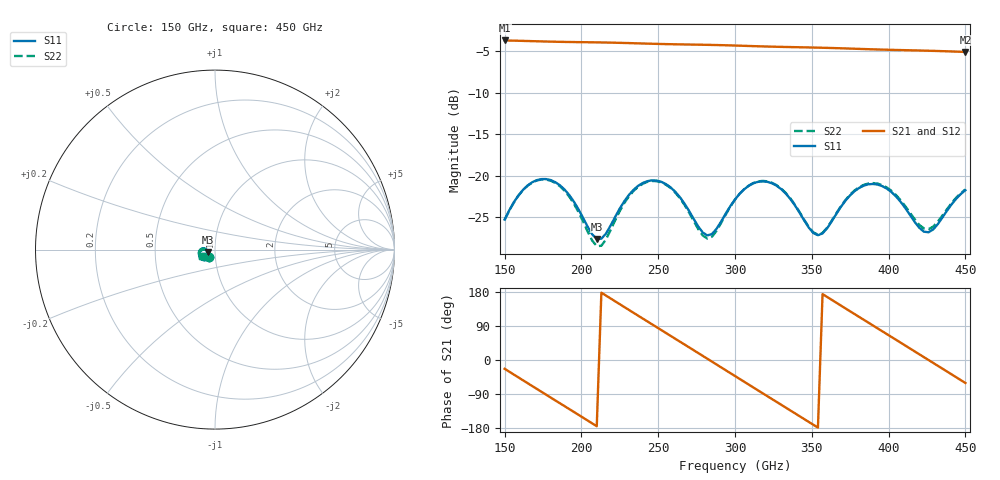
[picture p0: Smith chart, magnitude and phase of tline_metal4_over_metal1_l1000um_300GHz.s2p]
#  GHZ S DB R 50
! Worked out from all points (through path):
!   101 points, 150 GHz to 450 GHz, reference 50 ohm
!   highest |S21| = -3.67 dB at 150 GHz (marker M1); lowest = -5.1 dB at 450 GHz (marker M2)
!   group delay of S21, straight-line fit = 7.01 ps
!   lowest |S11| = -27.7 dB at 210 GHz (marker M3), VSWR 1.09, Z = 46.2 - j1.19 ohm
!   |S11| at or under -10 dB: start of sweep to end of sweep
!   |S22| runs from -28.5 to -20.5 dB; largest |S21 - S12| = 1e-13
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150  -25.32 -127.4  -3.67 -23.2  -3.67 -23.2  -25.37 -127.1
162  -21.73 -133.7  -3.73 -53.6  -3.73 -53.6  -21.75 -133.8
174  -20.43 -151.2  -3.79 -83.9  -3.79 -83.9  -20.48 -151.9
186  -21.18 -169.3  -3.84 -114.1  -3.84 -114.1  -21.29 -170.7
201  -25.09 -179.2  -3.88 -152.0  -3.88 -152.0  -25.52 178.5
210  -27.67 -161.9  -3.91 -174.7  -3.91 -174.7  -28.54 -162.1
222  -24.99 -136.1  -3.95 154.8  -3.95 154.8  -25.39 -132.8
234  -21.72 -142.4  -4.01 124.4  -4.01 124.4  -21.85 -140.0
252  -20.76 -167.2  -4.10 79.0  -4.10 79.0  -20.83 -165.8
276  -26.14 -178.0  -4.18 18.5  -4.18 18.5  -26.45 -177.1
285  -27.07 -155.7  -4.22 -4.3  -4.22 -4.3  -27.40 -153.0
300  -22.89 -143.4  -4.29 -42.3  -4.29 -42.3  -22.91 -140.5
312  -20.94 -155.9  -4.36 -72.6  -4.36 -72.6  -20.90 -153.5
324  -20.93 -172.1  -4.42 -102.8  -4.42 -102.8  -20.87 -170.0
339  -23.60 174.1  -4.48 -140.6  -4.48 -140.6  -23.53 176.0
351  -26.95 -173.9  -4.53 -170.9  -4.53 -170.9  -26.87 -172.2
363  -25.52 -147.8  -4.59 158.7  -4.59 158.7  -25.45 -146.1
378  -21.87 -151.9  -4.68 120.8  -4.68 120.8  -21.78 -150.0
390  -21.02 -166.3  -4.75 90.6  -4.75 90.6  -20.92 -164.4
402  -22.02 179.8  -4.81 60.5  -4.81 60.5  -21.87 -178.0
426  -26.86 -163.9  -4.92 -0.0  -4.92 -0.0  -26.48 -163.0
450  -21.77 -153.8  -5.06 -60.6  -5.06 -60.6  -21.68 -153.5
